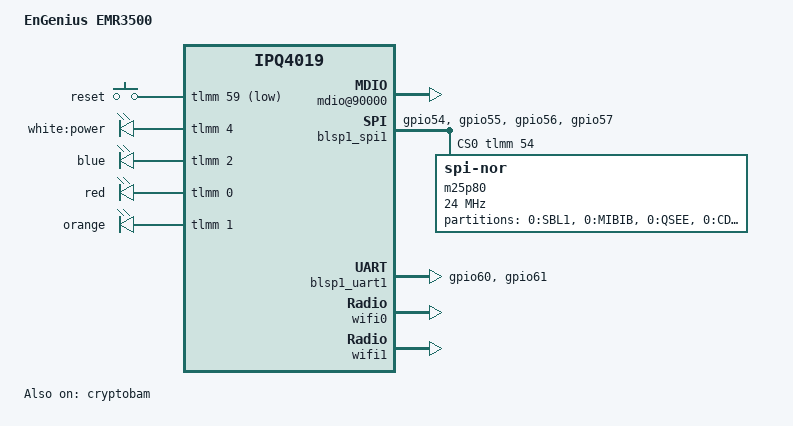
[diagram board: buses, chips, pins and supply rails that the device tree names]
// SPDX-License-Identifier: GPL-2.0-or-later

#include "qcom-ipq4019.dtsi"
#include <dt-bindings/gpio/gpio.h>
#include <dt-bindings/input/input.h>
#include <dt-bindings/soc/qcom,tcsr.h>

/ {
	model = "EnGenius EMR3500";
	compatible = "engenius,emr3500";

	soc {
		rng@22000 {
			status = "okay";
		};

		mdio@90000 {
			status = "okay";
		};

		ess-psgmii@98000 {
			status = "okay";
		};

		tcsr@1949000 {
			compatible = "qcom,tcsr";
			reg = <0x1949000 0x100>;
			qcom,wifi_glb_cfg = <TCSR_WIFI_GLB_CFG>;
		};

		ess_tcsr@1953000 {
			compatible = "qcom,tcsr";
			reg = <0x1953000 0x1000>;
			qcom,ess-interface-select = <TCSR_ESS_PSGMII>;
		};

		tcsr@1957000 {
			compatible = "qcom,tcsr";
			reg = <0x1957000 0x100>;
			qcom,wifi_noc_memtype_m0_m2 = <TCSR_WIFI_NOC_MEMTYPE_M0_M2>;
		};

		usb2_hs_phy: hsphy@a8000 {
			status = "okay";
		};

		crypto@8e3a000 {
			status = "okay";
		};

		watchdog@b017000 {
			status = "okay";
		};

		ess-switch@c000000 {
			status = "okay";
		};

		edma@c080000 {
			status = "okay";
		};
	};

	keys {
		compatible = "gpio-keys";

		reset {
			label = "reset";
			gpios = <&tlmm 59 GPIO_ACTIVE_LOW>;
			linux,code = <KEY_RESTART>;
		};
	};

	aliases {
		led-boot = &power;
		led-failsafe = &power;
		led-running = &power;
		led-upgrade = &power;
	};

	leds {
		compatible = "gpio-leds";

		power: white {
			label = "white:power";
			gpios = <&tlmm 4 GPIO_ACTIVE_HIGH>;
		};

		blue {
			label = "blue";
			gpios = <&tlmm 2 GPIO_ACTIVE_HIGH>;
		};

		red {
			label = "red";
			gpios = <&tlmm 0 GPIO_ACTIVE_HIGH>;
		};

		orange {
			label = "orange";
			gpios = <&tlmm 1 GPIO_ACTIVE_HIGH>;
		};
	};
};

&tlmm {
	serial_pins: serial_pinmux {
		mux {
			pins = "gpio60", "gpio61";
			function = "blsp_uart0";
			bias-disable;
		};
	};

	spi_0_pins: spi_0_pinmux {
		pin {
			function = "blsp_spi0";
			pins = "gpio54", "gpio55", "gpio56", "gpio57";
			drive-strength = <12>;
			bias-disable;
		};

		pin_cs {
			function = "gpio";
			pins = "gpio54";
			drive-strength = <2>;
			bias-disable;
			output-high;
		};
	};
};

&blsp_dma {
	status = "okay";
};

&blsp1_spi1 {
	pinctrl-0 = <&spi_0_pins>;
	pinctrl-names = "default";
	status = "okay";
	cs-gpios = <&tlmm 54 GPIO_ACTIVE_HIGH>;

	m25p80@0 {
		compatible = "jedec,spi-nor";
		reg = <0>;
		spi-max-frequency = <24000000>;
		partitions {
			compatible = "fixed-partitions";
			#address-cells = <1>;
			#size-cells = <1>;

			partition@0 {
				label = "0:SBL1";
				reg = <0x00000000 0x00040000>;
				read-only;
			};

			partition@40000 {
				label = "0:MIBIB";
				reg = <0x00040000 0x00020000>;
				read-only;
			};

			partition@60000 {
				label = "0:QSEE";
				reg = <0x00060000 0x00060000>;
				read-only;
			};

			partition@c0000 {
				label = "0:CDT";
				reg = <0x000c0000 0x00010000>;
				read-only;
			};

			partition@d0000 {
				label = "0:DDRPARAMS";
				reg = <0x000d0000 0x00010000>;
				read-only;
			};

			partition@e0000 {
				label = "0:APPSBLENV";
				reg = <0x000e0000 0x00010000>;
				read-only;
			};

			partition@f0000 {
				label = "0:APPSBL";
				reg = <0x000f0000 0x00080000>;
				read-only;
			};

			partition@170000 {
				label = "0:ART";
				reg = <0x00170000 0x00010000>;
				read-only;
			};

			partition@180000 {
				label = "userconfig";
				reg = <0x00180000 0x00080000>;
				read-only;
			};

			partition@200000 {
				compatible = "denx,fit";
				label = "firmware";
				reg = <0x200000 0x1e00000>;
			};
		};
	};
};

&blsp1_uart1 {
	pinctrl-0 = <&serial_pins>;
	pinctrl-names = "default";
	status = "okay";
};

&cryptobam {
	status = "okay";
};

&usb2_hs_phy {
	status = "okay";
};

&wifi0 {
	status = "okay";
	qcom,ath10k-calibration-variant = "EnGenius-EMR3500";
};

&wifi1 {
	status = "okay";
	qcom,ath10k-calibration-variant = "EnGenius-EMR3500";
};
